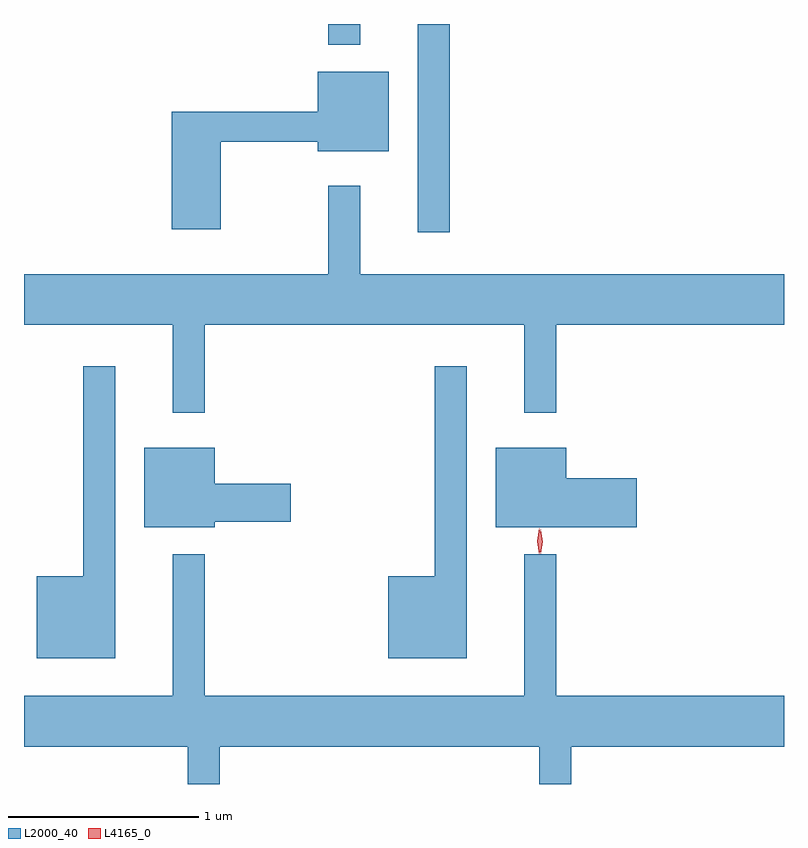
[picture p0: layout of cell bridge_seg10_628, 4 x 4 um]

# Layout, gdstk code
import gdstk
lib = gdstk.Library(unit=1e-6, precision=1e-09)
def R(c, l, rs):  # rectangles x0, y0, x1, y1
    for r in rs: c.add(gdstk.rectangle(r[:2], r[2:], *l))
def P(c, l, *ps):  # polygons
    for p in ps: c.add(gdstk.Polygon(p, *l))
L2000_40 = (2000, 40)
L4165_0 = (4165, 0)

bridge_seg10_628 = lib.new_cell('bridge_seg10_628')
R(bridge_seg10_628, L2000_40, [(757.501,2089.983,757.669,2091.08), (757.031,2090.972,757.199,2091.08)])
P(bridge_seg10_628, L2000_40, [(756.464,2090.461),(756.976,2090.461),(756.976,2090.411),(757.349,2090.411),(757.349,2090.829),(756.976,2090.829),(756.976,2090.619),(756.206,2090.619),(756.206,2090.001),(756.464,2090.001)],
  [(756.379,2089.496),(758.061,2089.496),(758.061,2089.033),(758.229,2089.033),(758.229,2089.496),(759.429,2089.496),(759.429,2089.764),(757.199,2089.764),(757.199,2090.228),(757.031,2090.228),(757.031,2089.764),(755.429,2089.764),(755.429,2089.496),(756.211,2089.496),(756.211,2089.033),(756.379,2089.033)],
  [(755.909,2089.278),(755.741,2089.278),(755.741,2088.174),(755.496,2088.174),(755.496,2087.741),(755.909,2087.741)],
  [(757.759,2089.278),(757.591,2089.278),(757.591,2088.174),(757.346,2088.174),(757.346,2087.741),(757.759,2087.741)],
  [(756.434,2088.461),(756.834,2088.461),(756.834,2088.659),(756.434,2088.659),(756.434,2088.849),(756.061,2088.849),(756.061,2088.431),(756.434,2088.431)],
  [(758.654,2088.689),(758.284,2088.689),(758.284,2088.849),(757.911,2088.849),(757.911,2088.431),(758.654,2088.431)],
  [(756.459,2087.276),(758.141,2087.276),(758.141,2087.08),(758.309,2087.08),(758.309,2087.276),(759.429,2087.276),(759.429,2087.544),(758.229,2087.544),(758.229,2088.288),(758.061,2088.288),(758.061,2087.544),(756.379,2087.544),(756.379,2088.288),(756.211,2088.288),(756.211,2087.544),(755.429,2087.544),(755.429,2087.276),(756.291,2087.276),(756.291,2087.08),(756.459,2087.08)])
P(bridge_seg10_628, L4165_0, [(758.141,2088.29),(758.131,2088.358),(758.14,2088.425),(758.141,2088.426),(758.142,2088.425),(758.151,2088.358),(758.142,2088.29),(758.142,2088.29)],
  [(758.148,2088.293),(758.148,2088.294),(758.138,2088.356),(758.148,2088.419),(758.148,2088.42),(758.149,2088.419),(758.158,2088.356),(758.149,2088.294)])

lib.write_gds('bridge_seg10_628.gds')
